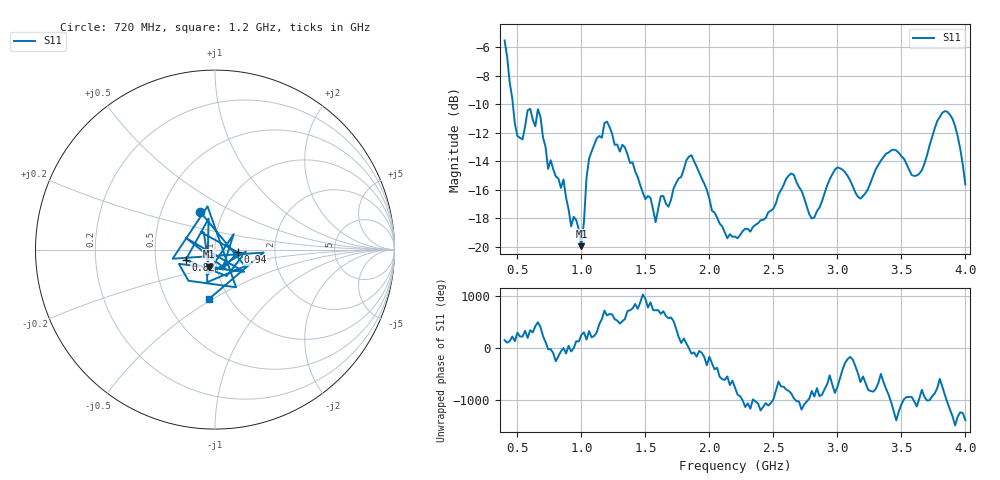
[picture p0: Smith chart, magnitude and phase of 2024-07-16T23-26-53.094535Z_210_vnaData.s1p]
!Created with skrf (http://scikit-rf.org).
# Hz S RI R 50.0
!freq ReS11 ImS11
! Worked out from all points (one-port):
!   181 points, 400 MHz to 4 GHz, reference 50 ohm
!   lowest |S11| = -20.0 dB at 1 GHz (marker M1), VSWR 1.22, Z = 45.9 - j8.75 ohm
!   |S11| at or under -10 dB: 464.6 MHz to end of sweep
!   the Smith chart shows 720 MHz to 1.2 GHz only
!   S11 on the Smith chart (normalised r, x): 720 MHz: 0.78, +0.34; 820 MHz: 0.71, -0.09; 940 MHz: 1.29, -0.04; 1.2 GHz: 0.81, -0.48
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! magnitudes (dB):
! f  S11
! 400 MHz  -5.5
! 500 MHz  -12.2
! 660 MHz  -10.3
! 720 MHz  -13.0
! 820 MHz  -15.2
! 860 MHz  -15.3
! 920 MHz  -18.6
! 940 MHz  -17.9
! 1 GHz  -20.0
! 1.06 GHz  -13.8
! 1.2 GHz  -11.2
! 1.3 GHz  -13.3
! 1.58 GHz  -18.3
! 1.76 GHz  -15.2
! 1.86 GHz  -13.6
! 2.02 GHz  -17.5
! 2.2 GHz  -19.3
! 2.66 GHz  -15.0
! 2.8 GHz  -18.0
! 2.98 GHz  -14.6
! 3.1 GHz  -15.3
! 3.18 GHz  -16.6
! 3.44 GHz  -13.2
! 3.56 GHz  -14.6
! 3.66 GHz  -14.6
! 3.84 GHz  -10.5
! 3.92 GHz  -11.5
! 4 GHz  -15.6
